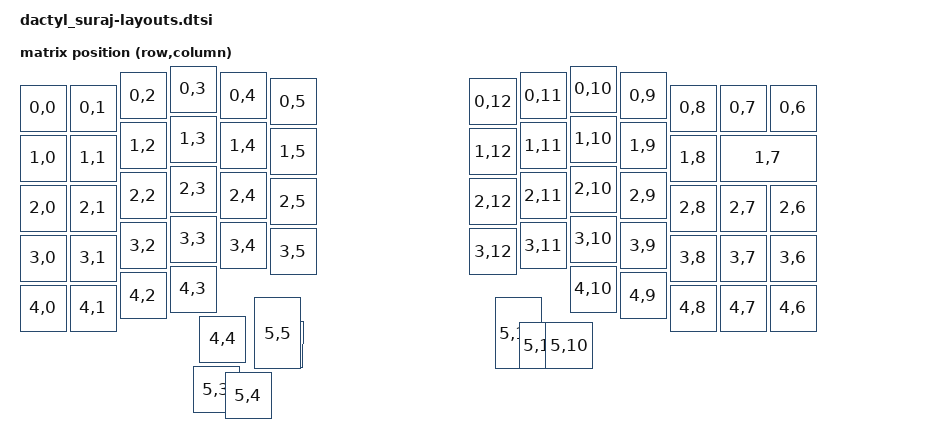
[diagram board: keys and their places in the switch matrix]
/*
 * ZMK physical layout generated from "default_transform" position data.
 *
 * Units: key_physical_attrs takes (width, height, x, y, rotation, rx, ry)
 *   - width/height/x/y/rx/ry are in hundredths of a key unit (1u = 100)
 *   - rotation is in hundredths of a degree
 *
 * Source coordinates using eighths of a unit (e.g. 0.125u) were rounded
 * to the nearest integer after scaling — this only affects the visual
 * arrangement shown in layout tools, not electrical/matrix behavior.
 *
 * NOTE: this defines the *physical* key positions only. You still need a
 * kscan node + a matrix transform (or direct GPIO / matrix wiring) that
 * matches your actual PCB, and a keymap with one binding per key below.
 * Key count: 66 (13+12+13+13+9+6), listed row-major, matching the
 * row/col order of the source data.
 */

#include <physical_layouts.dtsi>

/ {

	default_transform: default_transform {
			compatible = "zmk,matrix-transform";

			rows = <6>;
			columns = <13>;

			map = <
				RC(0,0) RC(0,1) RC(0,2) RC(0,3) RC(0,4) RC(0,5) 					RC(0,12) RC(0,11) RC(0,10) RC(0,9) RC(0,8) RC(0,7) RC(0,6)
				RC(1,0) RC(1,1) RC(1,2) RC(1,3) RC(1,4) RC(1,5) 					RC(1,12) RC(1,11) RC(1,10) RC(1,9) RC(1,8) RC(1,7) 
				RC(2,0) RC(2,1) RC(2,2) RC(2,3) RC(2,4) RC(2,5) 					RC(2,12) RC(2,11) RC(2,10) RC(2,9) RC(2,8) RC(2,7) RC(2,6)
				RC(3,0) RC(3,1) RC(3,2) RC(3,3) RC(3,4) RC(3,5) 					RC(3,12) RC(3,11) RC(3,10) RC(3,9) RC(3,8) RC(3,7) RC(3,6)
				RC(4,0)	RC(4,1) RC(4,2) RC(4,3) RC(4,4)	RC(4,5)	   				    				  RC(4,10) RC(4,9) RC(4,8) RC(4,7) RC(4,6)
										RC(5,3) RC(5,4) RC(5,5)						RC(5,12) RC(5,11) RC(5,10)
			>;
		};

	default_layout: default_layout {
			compatible = "zmk,physical-layout";
			display-name = "Default Layout";
			transform = <&default_transform>;

			keys  //                     w    h    x    y    rot    rx    ry
				/* Row 0 */
				= <&key_physical_attrs 100  100    0   38     0     0    0>  // R0C0
				, <&key_physical_attrs 100  100  100   38     0     0    0>  // R0C1
				, <&key_physical_attrs 100  100  200   13     0     0    0>  // R0C2
				, <&key_physical_attrs 100  100  300    0     0     0    0>  // R0C3
				, <&key_physical_attrs 100  100  400   13     0     0    0>  // R0C4
				, <&key_physical_attrs 100  100  500   25     0     0    0>  // R0C5
				, <&key_physical_attrs 100  100  900   25     0     0    0>  // R0C7
				, <&key_physical_attrs 100  100 1000   13     0     0    0>  // R0C8
				, <&key_physical_attrs 100  100 1100    0     0     0    0>  // R0C9
				, <&key_physical_attrs 100  100 1200   13     0     0    0>  // R0C10
				, <&key_physical_attrs 100  100 1300   38     0     0    0>  // R0C11
				, <&key_physical_attrs 100  100 1400   38     0     0    0>  // R0C12
				, <&key_physical_attrs 100  100 1500   38     0     0    0>  // R0C13

				/* Row 1 */
				, <&key_physical_attrs 100  100    0  138     0     0    0>  // R1C0
				, <&key_physical_attrs 100  100  100  138     0     0    0>  // R1C1
				, <&key_physical_attrs 100  100  200  113     0     0    0>  // R1C2
				, <&key_physical_attrs 100  100  300  100     0     0    0>  // R1C3
				, <&key_physical_attrs 100  100  400  113     0     0    0>  // R1C4
				, <&key_physical_attrs 100  100  500  125     0     0    0>  // R1C5
				, <&key_physical_attrs 100  100  900  125     0     0    0>  // R1C7
				, <&key_physical_attrs 100  100 1000  113     0     0    0>  // R1C8
				, <&key_physical_attrs 100  100 1100  100     0     0    0>  // R1C9
				, <&key_physical_attrs 100  100 1200  113     0     0    0>  // R1C10
				, <&key_physical_attrs 100  100 1300  138     0     0    0>  // R1C11
				, <&key_physical_attrs 200  100 1400  138     0     0    0>  // R1C12 (2u wide)

				/* Row 2 */
				, <&key_physical_attrs 100  100    0  238     0     0    0>  // R2C0
				, <&key_physical_attrs 100  100  100  238     0     0    0>  // R2C1
				, <&key_physical_attrs 100  100  200  213     0     0    0>  // R2C2
				, <&key_physical_attrs 100  100  300  200     0     0    0>  // R2C3
				, <&key_physical_attrs 100  100  400  213     0     0    0>  // R2C4
				, <&key_physical_attrs 100  100  500  225     0     0    0>  // R2C5
				, <&key_physical_attrs 100  100  900  225     0     0    0>  // R2C7
				, <&key_physical_attrs 100  100 1000  213     0     0    0>  // R2C8
				, <&key_physical_attrs 100  100 1100  200     0     0    0>  // R2C9
				, <&key_physical_attrs 100  100 1200  213     0     0    0>  // R2C10
				, <&key_physical_attrs 100  100 1300  238     0     0    0>  // R2C11
				, <&key_physical_attrs 100  100 1400  238     0     0    0>  // R2C12
				, <&key_physical_attrs 100  100 1500  238     0     0    0>  // R2C13

				/* Row 3 */
				, <&key_physical_attrs 100  100    0  338     0     0    0>  // R3C0
				, <&key_physical_attrs 100  100  100  338     0     0    0>  // R3C1
				, <&key_physical_attrs 100  100  200  313     0     0    0>  // R3C2
				, <&key_physical_attrs 100  100  300  300     0     0    0>  // R3C3
				, <&key_physical_attrs 100  100  400  313     0     0    0>  // R3C4
				, <&key_physical_attrs 100  100  500  325     0     0    0>  // R3C5
				, <&key_physical_attrs 100  100  900  325     0     0    0>  // R3C7
				, <&key_physical_attrs 100  100 1000  313     0     0    0>  // R3C8
				, <&key_physical_attrs 100  100 1100  300     0     0    0>  // R3C9
				, <&key_physical_attrs 100  100 1200  313     0     0    0>  // R3C10
				, <&key_physical_attrs 100  100 1300  338     0     0    0>  // R3C11
				, <&key_physical_attrs 100  100 1400  338     0     0    0>  // R3C12
				, <&key_physical_attrs 100  100 1500  338     0     0    0>  // R3C13

				/* Row 4 */
				, <&key_physical_attrs 100  100    0  438     0     0    0>  // R4C0
				, <&key_physical_attrs 100  100  100  438     0     0    0>  // R4C1
				, <&key_physical_attrs 100  100  200  413     0     0    0>  // R4C2
				, <&key_physical_attrs 100  100  300  400     0     0    0>  // R4C3
				, <&key_physical_attrs 100  100  360  500     5     0    0>  // R4C4
				, <&key_physical_attrs 100  100  475  510    10     0    0>  // R4C5
				, <&key_physical_attrs 100  100 1100  400     0     0    0>  // R4C9
				, <&key_physical_attrs 100  100 1200  413     0     0    0>  // R4C10
				, <&key_physical_attrs 100  100 1300  438     0     0    0>  // R4C11
				, <&key_physical_attrs 100  100 1400  438     0     0    0>  // R4C12
				, <&key_physical_attrs 100  100 1500  438     0     0    0>  // R4C13

				/* Row 5 / Thumb cluster */
				, <&key_physical_attrs 100  100  348  600    10     0    0>  // R5C3
				, <&key_physical_attrs 100  100  410  613    15   398  790>  // R5C4
				, <&key_physical_attrs 100  150  468  463    30   398  790>  // R5C5
				, <&key_physical_attrs 100  150  952  463   (-30)  1102  790>  // R5C7
				, <&key_physical_attrs 100  100 1000  513   (-15)  1102  790>  // R5C8
				, <&key_physical_attrs 100  100 1052  513     0     0    0>  // R5C9
				;
		};
};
